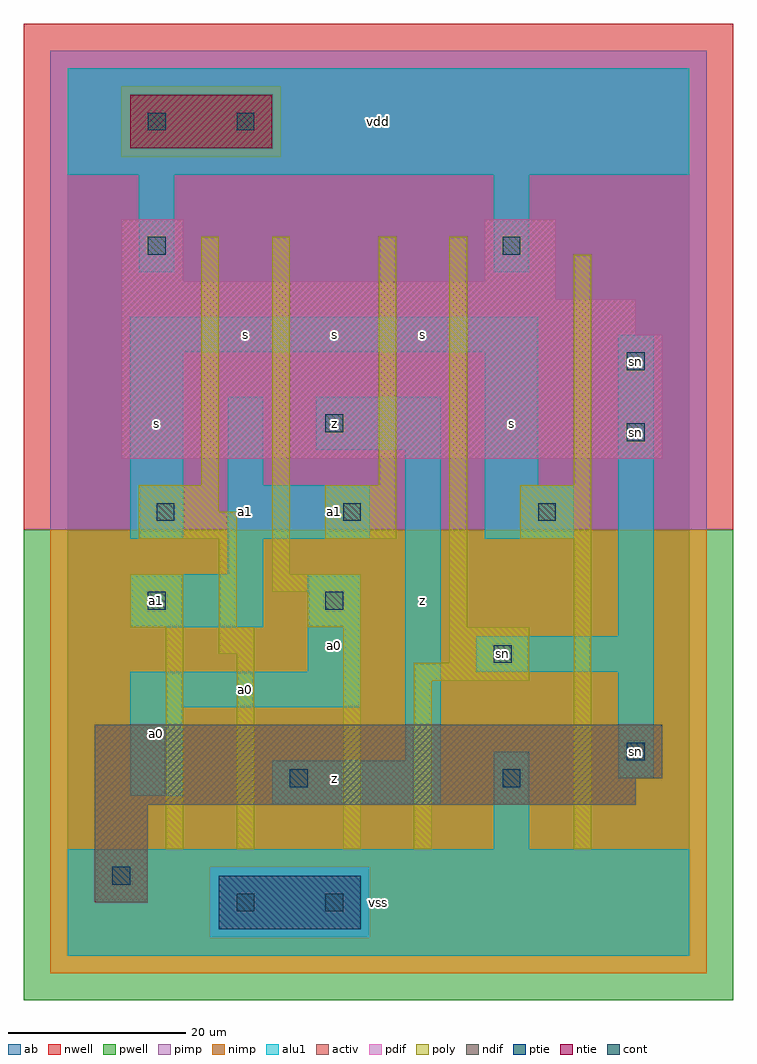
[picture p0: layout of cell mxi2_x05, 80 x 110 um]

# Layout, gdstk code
import gdstk
lib = gdstk.Library(unit=1e-6, precision=1e-09)
def R(c, l, rs):  # rectangles x0, y0, x1, y1
    for r in rs: c.add(gdstk.rectangle(r[:2], r[2:], *l))
ndif = (3, 0)
pdif = (4, 0)
ntie = (5, 0)
ptie = (6, 0)
cont = (25, 0)
pwell = (41, 0)
nwell = (42, 0)
activ = (43, 0)
pimp = (44, 0)
nimp = (45, 0)
poly = (46, 0)
alu1 = (49, 0)
ab = (63, 0)

mxi2_x05 = lib.new_cell('mxi2_x05')
R(mxi2_x05, ndif, [(3,6,9,17), (3,17,64,20), (3,20,67,26)])
R(mxi2_x05, pdif, [(6,56,67,70), (6,70,64,74), (6,74,55,76), (6,76,13,83), (47,76,55,83)])
R(mxi2_x05, ntie, [(7,91,23,97)])
R(mxi2_x05, ptie, [(17,3,33,9)])
R(mxi2_x05, cont, [(19,5,21,7), (29,5,31,7), (5,8,7,10), (25,19,27,21), (49,19,51,21), (63,22,65,24), (48,33,50,35), (9,39,11,41), (29,39,31,41), (10,49,12,51), (31,49,33,51), (53,49,55,51), (63,58,65,60), (29,59,31,61), (63,66,65,68), (9,79,11,81), (49,79,51,81), (9,93,11,95), (19,93,21,95)])
R(mxi2_x05, pwell, [(-5,-5,75,48)])
R(mxi2_x05, nwell, [(-5,48,75,105)])
R(mxi2_x05, activ, [(17,3,33,9), (3,6,9,17), (3,17,64,20), (3,20,67,26), (6,56,67,70), (6,70,64,74), (6,74,55,76), (6,76,13,83), (47,76,55,83), (7,91,23,97)])
R(mxi2_x05, pimp, [(16,2,34,10), (-2,48,72,90), (-2,90,6,98), (24,90,72,98), (-2,98,72,102)])
R(mxi2_x05, nimp, [(-2,-2,72,2), (-2,2,16,10), (34,2,72,10), (-2,10,72,48), (6,90,24,98)])
R(mxi2_x05, poly, [(11,12,13,37), (19,12,21,34), (31,12,33,37), (39,12,41,31), (57,12,59,47), (39,31,52,33), (43,33,52,37), (17,34,21,37), (7,37,13,43), (17,37,19,47), (27,37,33,41), (43,37,45,81), (23,41,33,43), (23,43,25,81), (8,47,19,50), (29,47,37,53), (51,47,59,53), (8,50,17,53), (15,53,17,81), (35,53,37,81), (57,53,59,79)])
R(mxi2_x05, alu1, [(0,0,70,12), (48,12,52,23), (23,17,42,22), (7,18,13,28), (62,20,66,32), (38,22,42,57), (7,28,33,32), (27,32,33,43), (46,32,66,36), (62,36,66,70), (7,37,22,43), (18,43,22,47), (7,47,13,68), (18,47,34,53), (47,47,57,53), (18,53,22,63), (47,53,53,68), (28,57,42,63), (7,68,53,72), (8,77,12,88), (48,77,52,88), (0,88,70,100)])
R(mxi2_x05, ab, [(0,0,70,100)])
mxi2_x05.add(gdstk.Label('sn', (64,23), layer=49, texttype=0))
mxi2_x05.add(gdstk.Label('sn', (49,34), layer=49, texttype=0))
mxi2_x05.add(gdstk.Label('sn', (64,59), layer=49, texttype=0))
mxi2_x05.add(gdstk.Label('sn', (64,67), layer=49, texttype=0))
mxi2_x05.add(gdstk.Label('a0', (10,25), layer=49, texttype=0))
mxi2_x05.add(gdstk.Label('a1', (10,40), layer=49, texttype=0))
mxi2_x05.add(gdstk.Label('s', (10,60), layer=49, texttype=0))
mxi2_x05.add(gdstk.Label('z', (30,20), layer=49, texttype=0))
mxi2_x05.add(gdstk.Label('a0', (20,30), layer=49, texttype=0))
mxi2_x05.add(gdstk.Label('a0', (30,35), layer=49, texttype=0))
mxi2_x05.add(gdstk.Label('a1', (30,50), layer=49, texttype=0))
mxi2_x05.add(gdstk.Label('a1', (20,50), layer=49, texttype=0))
mxi2_x05.add(gdstk.Label('s', (20,70), layer=49, texttype=0))
mxi2_x05.add(gdstk.Label('s', (30,70), layer=49, texttype=0))
mxi2_x05.add(gdstk.Label('z', (30,60), layer=49, texttype=0))
mxi2_x05.add(gdstk.Label('vss', (35,6), layer=49, texttype=0))
mxi2_x05.add(gdstk.Label('z', (40,40), layer=49, texttype=0))
mxi2_x05.add(gdstk.Label('s', (40,70), layer=49, texttype=0))
mxi2_x05.add(gdstk.Label('s', (50,60), layer=49, texttype=0))
mxi2_x05.add(gdstk.Label('vdd', (35,94), layer=49, texttype=0))

lib.write_gds('mxi2_x05.gds')
